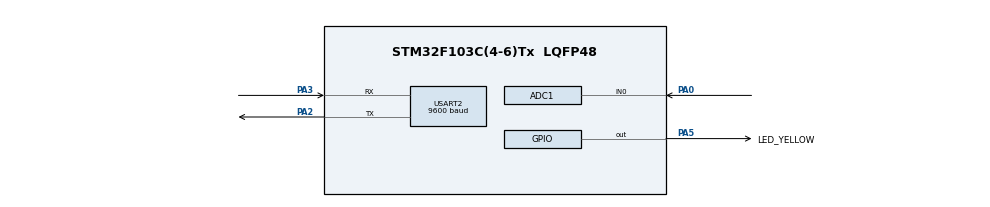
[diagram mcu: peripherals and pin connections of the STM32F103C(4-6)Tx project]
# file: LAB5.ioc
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ADC1.Channel-0\#ChannelRegularConversion=ADC_CHANNEL_0
ADC1.ContinuousConvMode=ENABLE
ADC1.NbrOfConversionFlag=1
ADC1.Rank-0\#ChannelRegularConversion=1
ADC1.SamplingTime-0\#ChannelRegularConversion=ADC_SAMPLETIME_1CYCLE_5
ADC1.master=1
Mcu.Family=STM32F1
Mcu.Name=STM32F103C(4-6)Tx
Mcu.Package=LQFP48
NVIC.PriorityGroup=NVIC_PRIORITYGROUP_4
NVIC.TIM2_IRQn=true\:0\:0\:false\:false\:true\:true\:true
NVIC.USART2_IRQn=true\:0\:0\:false\:false\:true\:true\:true
PA0-WKUP.Signal=ADCx_IN0
PA2.Mode=Asynchronous
PA2.Signal=USART2_TX
PA3.Mode=Asynchronous
PA3.Signal=USART2_RX
PA5.GPIO_Label=LED_YELLOW
PA5.Signal=GPIO_Output
ProjectManager.HeapSize=0x200
ProjectManager.StackSize=0x400
ProjectManager.TargetToolchain=STM32CubeIDE
RCC.APB1Freq_Value=8000000
RCC.APB2Freq_Value=8000000
SH.ADCx_IN0.0=ADC1_IN0,IN0
TIM2.Period=9
TIM2.Prescaler=7999
USART2.BaudRate=9600
USART2.VirtualMode=VM_ASYNC
VP_SYS_VS_ND.Mode=No_Debug
VP_TIM2_VS_ClockSourceINT.Mode=Internal
board=custom

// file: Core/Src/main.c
/* USER CODE BEGIN Header */
/**
  ******************************************************************************
  * @file           : main.c
  * @brief          : Main program body
  ******************************************************************************
  * @attention
  *
  * <h2><center>&copy; Copyright (c) 2024 STMicroelectronics.
  * All rights reserved.</center></h2>
  *
  * This software component is licensed by ST under BSD 3-Clause license,
  * the "License"; You may not use this file except in compliance with the
  * License. You may obtain a copy of the License at:
  *                        opensource.org/licenses/BSD-3-Clause
  *
  ******************************************************************************
  */
/* USER CODE END Header */
#include "main.h"

/* USER CODE BEGIN Includes */
#include "command_parser_fsm.h"
#include "uart_communication_fsm.h"
/* USER CODE END Includes */

ADC_HandleTypeDef hadc1;

TIM_HandleTypeDef htim2;

UART_HandleTypeDef huart2;

/* USER CODE BEGIN PV */
uint8_t msg[] = "Typing !RST# to get a sensory data\r\nTyping !OK# to end communication\r\n";
/* USER CODE END PV */

void SystemClock_Config(void);
static void MX_GPIO_Init(void);
static void MX_ADC1_Init(void);
static void MX_USART2_UART_Init(void);
static void MX_TIM2_Init(void);

/* USER CODE BEGIN 0 */
void HAL_UART_RxCpltCallback(UART_HandleTypeDef * huart) {
	if (huart->Instance == USART2) {
		HAL_UART_Transmit(&huart2, &temp, 1, 50);
		buffer[index_buffer++] = temp;
		if (index_buffer == 30) index_buffer = 0;
		buffer_flag = 1;
		HAL_UART_Receive_IT(&huart2, &temp, 1);
	}
}
/* USER CODE END 0 */

int main(void)
{

  /* MCU Configuration--------------------------------------------------------*/

  /* Reset of all peripherals, Initializes the Flash interface and the Systick. */
  HAL_Init();

  /* Configure the system clock */
  SystemClock_Config();

  /* Initialize all configured peripherals */
  MX_GPIO_Init();
  MX_ADC1_Init();
  MX_USART2_UART_Init();
  MX_TIM2_Init();
  /* USER CODE BEGIN 2 */
  HAL_TIM_Base_Start_IT(&htim2);
  HAL_UART_Transmit(&huart2, msg, sizeof(msg), 100);
  HAL_UART_Receive_IT(&huart2, &temp, 1);
  /* USER CODE END 2 */

  /* Infinite loop */
  /* USER CODE BEGIN WHILE */
  setTimer(0, 500);
  while (1)
  {
	  if (timer_flag[0] == 1) {
		  HAL_GPIO_TogglePin(LED_YELLOW_GPIO_Port, LED_YELLOW_Pin);
		  setTimer(0, 500);
	  }
	  if (buffer_flag == 1) {
		  command_parser_fsm(&huart2);
		  buffer_flag = 0;
	  }
	  uart_communication_fsm(&huart2, &hadc1);
    /* USER CODE END WHILE */

  }
}

void SystemClock_Config(void)
{
  RCC_OscInitTypeDef RCC_OscInitStruct = {0};
  RCC_ClkInitTypeDef RCC_ClkInitStruct = {0};
  RCC_PeriphCLKInitTypeDef PeriphClkInit = {0};

  /** Initializes the RCC Oscillators according to the specified parameters
  * in the RCC_OscInitTypeDef structure.
  */
  RCC_OscInitStruct.OscillatorType = RCC_OSCILLATORTYPE_HSI;
  RCC_OscInitStruct.HSIState = RCC_HSI_ON;
  RCC_OscInitStruct.HSICalibrationValue = RCC_HSICALIBRATION_DEFAULT;
  RCC_OscInitStruct.PLL.PLLState = RCC_PLL_NONE;
  if (HAL_RCC_OscConfig(&RCC_OscInitStruct) != HAL_OK)
  {
    Error_Handler();
  }
  /** Initializes the CPU, AHB and APB buses clocks
  */
  RCC_ClkInitStruct.ClockType = RCC_CLOCKTYPE_HCLK|RCC_CLOCKTYPE_SYSCLK
                              |RCC_CLOCKTYPE_PCLK1|RCC_CLOCKTYPE_PCLK2;
  RCC_ClkInitStruct.SYSCLKSource = RCC_SYSCLKSOURCE_HSI;
  RCC_ClkInitStruct.AHBCLKDivider = RCC_SYSCLK_DIV1;
  RCC_ClkInitStruct.APB1CLKDivider = RCC_HCLK_DIV1;
  RCC_ClkInitStruct.APB2CLKDivider = RCC_HCLK_DIV1;

  if (HAL_RCC_ClockConfig(&RCC_ClkInitStruct, FLASH_LATENCY_0) != HAL_OK)
  {
    Error_Handler();
  }
  PeriphClkInit.PeriphClockSelection = RCC_PERIPHCLK_ADC;
  PeriphClkInit.AdcClockSelection = RCC_ADCPCLK2_DIV2;
  if (HAL_RCCEx_PeriphCLKConfig(&PeriphClkInit) != HAL_OK)
  {
    Error_Handler();
  }
}

static void MX_ADC1_Init(void)
{

  ADC_ChannelConfTypeDef sConfig = {0};

  /** Common config
  */
  hadc1.Instance = ADC1;
  hadc1.Init.ScanConvMode = ADC_SCAN_DISABLE;
  hadc1.Init.ContinuousConvMode = ENABLE;
  hadc1.Init.DiscontinuousConvMode = DISABLE;
  hadc1.Init.ExternalTrigConv = ADC_SOFTWARE_START;
  hadc1.Init.DataAlign = ADC_DATAALIGN_RIGHT;
  hadc1.Init.NbrOfConversion = 1;
  if (HAL_ADC_Init(&hadc1) != HAL_OK)
  {
    Error_Handler();
  }
  /** Configure Regular Channel
  */
  sConfig.Channel = ADC_CHANNEL_0;
  sConfig.Rank = ADC_REGULAR_RANK_1;
  sConfig.SamplingTime = ADC_SAMPLETIME_1CYCLE_5;
  if (HAL_ADC_ConfigChannel(&hadc1, &sConfig) != HAL_OK)
  {
    Error_Handler();
  }

}

static void MX_TIM2_Init(void)
{

  TIM_ClockConfigTypeDef sClockSourceConfig = {0};
  TIM_MasterConfigTypeDef sMasterConfig = {0};

  htim2.Instance = TIM2;
  htim2.Init.Prescaler = 7999;
  htim2.Init.CounterMode = TIM_COUNTERMODE_UP;
  htim2.Init.Period = 9;
  htim2.Init.ClockDivision = TIM_CLOCKDIVISION_DIV1;
  htim2.Init.AutoReloadPreload = TIM_AUTORELOAD_PRELOAD_DISABLE;
  if (HAL_TIM_Base_Init(&htim2) != HAL_OK)
  {
    Error_Handler();
  }
  sClockSourceConfig.ClockSource = TIM_CLOCKSOURCE_INTERNAL;
  if (HAL_TIM_ConfigClockSource(&htim2, &sClockSourceConfig) != HAL_OK)
  {
    Error_Handler();
  }
  sMasterConfig.MasterOutputTrigger = TIM_TRGO_RESET;
  sMasterConfig.MasterSlaveMode = TIM_MASTERSLAVEMODE_DISABLE;
  if (HAL_TIMEx_MasterConfigSynchronization(&htim2, &sMasterConfig) != HAL_OK)
  {
    Error_Handler();
  }

}

static void MX_USART2_UART_Init(void)
{

  huart2.Instance = USART2;
  huart2.Init.BaudRate = 9600;
  huart2.Init.WordLength = UART_WORDLENGTH_8B;
  huart2.Init.StopBits = UART_STOPBITS_1;
  huart2.Init.Parity = UART_PARITY_NONE;
  huart2.Init.Mode = UART_MODE_TX_RX;
  huart2.Init.HwFlowCtl = UART_HWCONTROL_NONE;
  huart2.Init.OverSampling = UART_OVERSAMPLING_16;
  if (HAL_UART_Init(&huart2) != HAL_OK)
  {
    Error_Handler();
  }

}

static void MX_GPIO_Init(void)
{
  GPIO_InitTypeDef GPIO_InitStruct = {0};

  /* GPIO Ports Clock Enable */
  __HAL_RCC_GPIOA_CLK_ENABLE();

  /*Configure GPIO pin Output Level */
  HAL_GPIO_WritePin(LED_YELLOW_GPIO_Port, LED_YELLOW_Pin, GPIO_PIN_RESET);

  /*Configure GPIO pin : LED_YELLOW_Pin */
  GPIO_InitStruct.Pin = LED_YELLOW_Pin;
  GPIO_InitStruct.Mode = GPIO_MODE_OUTPUT_PP;
  GPIO_InitStruct.Pull = GPIO_NOPULL;
  GPIO_InitStruct.Speed = GPIO_SPEED_FREQ_LOW;
  HAL_GPIO_Init(LED_YELLOW_GPIO_Port, &GPIO_InitStruct);

}

/* USER CODE BEGIN 4 */
void HAL_TIM_PeriodElapsedCallback(TIM_HandleTypeDef *htim) {
	timerRun();
}
/* USER CODE END 4 */

void Error_Handler(void)
{
  __disable_irq();
  while (1)
  {
  }
}

/************************ (C) COPYRIGHT STMicroelectronics *****END OF FILE****/
